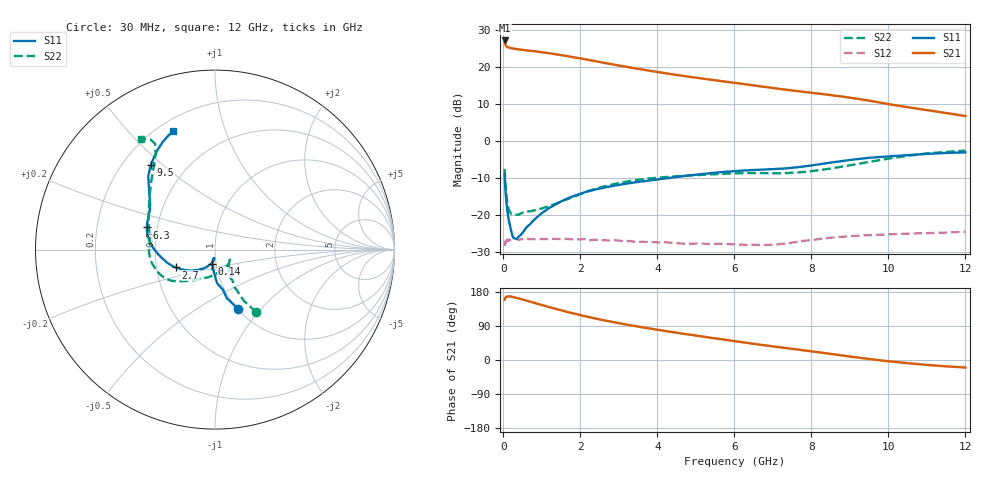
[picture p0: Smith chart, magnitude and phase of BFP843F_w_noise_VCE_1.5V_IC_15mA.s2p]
! Infineon Technologies  Discrete & RF Semiconductors
! BFP843F
! VCE =  1.5 V,  IC =  15 mA
! Common Emitter S-Parameters:  Aug 2013
# GHz  S  MA  R  50
!  f  S11  S21  S12  S22
! GHz  MAG  ANG  MAG  ANG  MAG  ANG  MAG  ANG
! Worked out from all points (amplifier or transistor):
!   103 points, 30 MHz to 12 GHz, reference 50 ohm
!   highest |S21| = 27.2 dB at 30 MHz (marker M1)
!   |S21| within 3 dB of that: start of sweep to 865.5 MHz
!   unconditionally stable (mu >= 1): 137.3 MHz to 141.6 MHz; 168.8 MHz to end of sweep
!   at 400 MHz: K = 1.02, MAG = 25.0 dB, |S12| = -26.8 dB
!   at 3.7 GHz: K = 1.19, MAG = 20.6 dB, |S12| = -27.3 dB
!   at 12 GHz: K = 1.27, MAG = 12.5 dB, |S12| = -24.6 dB
!   lowest NFmin = 0.84 dB at 450 MHz
!   S11 on the Smith chart (normalised r, x): 30 MHz: 1.01, -0.76; 140 MHz: 0.95, -0.15; 2.7 GHz: 0.63, -0.13; 6.3 GHz: 0.44, +0.13; 9.5 GHz: 0.31, +0.46; 12 GHz: 0.26, +0.68
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0.03  0.3552 -68.6  22.86 159.3  0.0377 28.1  0.4169 -56.6
0.04  0.2786 -76.3  21.18 160.9  0.0427 19.8  0.3295 -60.5
0.05  0.2271 -78.9  20.13 164.0  0.0409 21.7  0.2719 -61.5
0.07  0.1634 -88.7  19.2 166.1  0.0455 12.5  0.1961 -60.3
0.1  0.1111 -94.3  18.62 167.4  0.0465 11.4  0.1438 -57.9
0.14  0.0829 -102.9  18.29 167.8  0.0444 6.9  0.1175 -48.2
0.3  0.0479 -94.4  17.59 165.0  0.0469 4.6  0.101 -35.5
0.9  0.0956 -111.7  16.1 147.8  0.047 1.2  0.1175 -65.9
1.2  0.1253 -121.9  15.33 139.3  0.0473 -0.1  0.1318 -85.2
1.6  0.1607 -134.3  14.21 128.4  0.0475 -0.4  0.1603 -104.7
2.1  0.2009 -145.7  12.79 115.9  0.0472 -1.1  0.1994 -122.4
2.7  0.2382 -155.4  11.17 103.0  0.0451 -1.7  0.2471 -135.0
3.4  0.274 -164.4  9.634 89.9  0.0432 -1.9  0.2945 -143.7
4.1  0.3065 -172.8  8.412 78.2  0.042 -0.7  0.3205 -150.5
5  0.3491 177.1  7.183 64.4  0.0409 2.0  0.3441 -159.9
6.1  0.3937 164.6  6.019 48.4  0.0395 6.3  0.3643 -172.7
6.3  0.3996 162.0  5.826 45.5  0.0391 7.5  0.3657 -175.3
7.3  0.4242 149.0  4.956 32.0  0.0407 16.5  0.3673 172.3
8.5  0.5088 136.4  4.172 16.1  0.0491 19.5  0.423 151.0
9.5  0.5914 127.3  3.507 2.6  0.0531 18.1  0.5206 133.0
10.5  0.6421 119.8  2.86 -8.3  0.0557 17.1  0.629 121.7
12  0.6995 109.4  2.172 -19.8  0.0591 19.1  0.7412 123.7
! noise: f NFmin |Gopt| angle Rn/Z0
0.45  0.84  0.02  165  0.04
0.9  0.84  0.02  143  0.05
1.5  0.88  0.03  139  0.05
1.9  0.92  0.05  146  0.05
2.4  0.96  0.06  153  0.08
3.5  1.02  0.09  167  0.13
5.5  1.12  0.17  -157  0.21
10  1.65  0.37  -108  0.31
